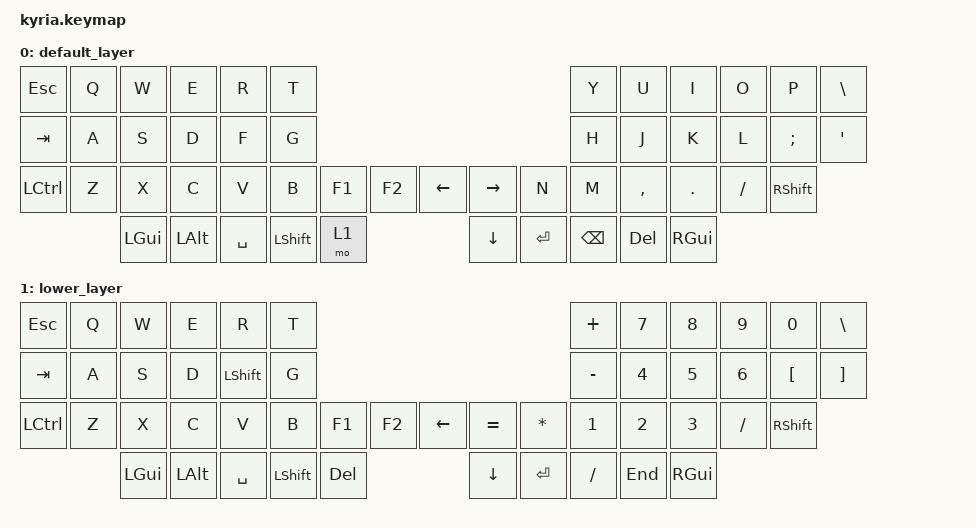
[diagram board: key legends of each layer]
/*
 * Copyright (c) 2020 The ZMK Contributors
 *
 * SPDX-License-Identifier: MIT
 */

#include <behaviors.dtsi>
#include <dt-bindings/zmk/keys.h>
#include <dt-bindings/zmk/bt.h>

/ {
	keymap {
		compatible = "zmk,keymap";

		default_layer {
// ---------------------------------------------------------------------------------------------------------------------------------
// |  ESC  |  Q  |  W  |  E   |  R   |  T   |                                          |  Y   |  U    |  I    |  O   |   P   |   \  |
// |  TAB  |  A  |  S  |  D   |  F   |  G   |                                          |  H   |  J    |  K    |  L   |   ;   |   '  |
// | SHIFT |  Z  |  X  |  C   |  V   |  B   | L SHIFT | L SHIFT |  | L SHIFT | L SHIFT |  N   |  M    |  ,    |  .   |   /   | CTRL |
//                     | GUI  | DEL  | RET  |  SPACE  |   ESC   |  |   RET   |  SPACE  | TAB  | BSPC  | R-ALT |
			bindings = <
	&kp ESC   &kp Q &kp W &kp E &kp R &kp T                                                &kp Y &kp U  &kp I     &kp O   &kp P    &kp BSLH
	&kp TAB   &kp A &kp S &kp D &kp F &kp G                                                &kp H &kp J  &kp K     &kp L   &kp SEMI &kp SQT
	&kp LCTRL &kp Z &kp X &kp C &kp V &kp B &kp F1 &kp F2        &kp LEFT &kp RIGHT &kp N &kp M  &kp COMMA &kp DOT &kp FSLH &kp RSHFT
	                 &kp LGUI &kp LALT &kp SPACE &kp LSHFT &mo 1       &kp DOWN   &kp RET &kp BSPC &kp DEL &kp RGUI
			>;

		};
		lower_layer {
			bindings = <
	&kp ESC   &kp Q &kp W &kp E &kp R &kp T                                                &kp PLUS &kp N7  &kp N8     &kp N9   &kp N0    &kp BSLH
	&kp TAB   &kp A &kp S &kp D &kp LSHFT &kp G                                                &kp MINUS &kp N4  &kp N5     &kp N6   &kp LBKT &kp RBKT
	&kp LCTRL &kp Z &kp X &kp C &kp V &kp B &kp F1 &kp F2        &kp LEFT &kp EQUAL &kp STAR &kp N1  &kp N2 &kp N3 &kp FSLH &kp RSHFT
	                 &kp LGUI &kp LALT &kp SPACE &kp LSHFT &kp DEL       &kp DOWN   &kp RET &kp SLASH &kp END &kp RGUI
			>;
		};
	};
};
